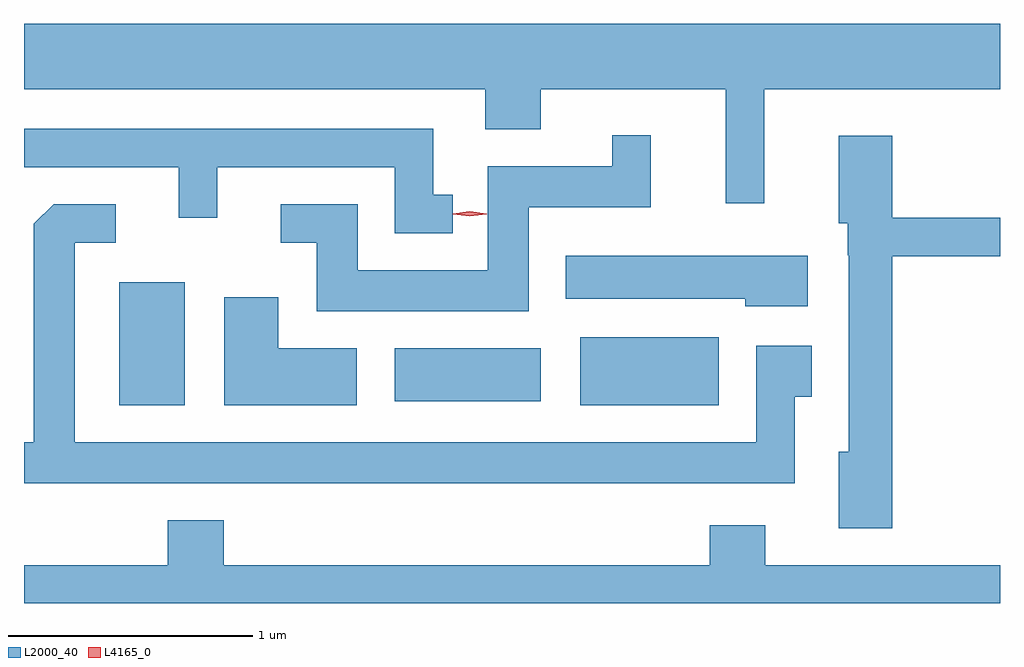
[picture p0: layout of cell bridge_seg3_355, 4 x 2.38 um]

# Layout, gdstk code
import gdstk
lib = gdstk.Library(unit=1e-6, precision=1e-09)
def R(c, l, rs):  # rectangles x0, y0, x1, y1
    for r in rs: c.add(gdstk.rectangle(r[:2], r[2:], *l))
def P(c, l, *ps):  # polygons
    for p in ps: c.add(gdstk.Polygon(p, *l))
L2000_40 = (2000, 40)
L4165_0 = (4165, 0)

bridge_seg3_355 = lib.new_cell('bridge_seg3_355')
R(bridge_seg3_355, L2000_40, [(682.231,1193.541,682.499,1194.044), (684.121,1193.541,684.689,1193.819), (683.361,1193.556,683.959,1193.774)])
P(bridge_seg3_355, L2000_40, [(684.874,1194.836),(685.841,1194.836),(685.841,1195.104),(681.841,1195.104),(681.841,1194.836),(683.731,1194.836),(683.731,1194.671),(683.959,1194.671),(683.959,1194.836),(684.716,1194.836),(684.716,1194.368),(684.874,1194.368)],
  [(683.598,1194.404),(683.519,1194.404),(683.519,1194.674),(681.841,1194.674),(681.841,1194.516),(682.476,1194.516),(682.476,1194.308),(682.634,1194.308),(682.634,1194.516),(683.361,1194.516),(683.361,1194.246),(683.598,1194.246)],
  [(683.909,1194.351),(684.409,1194.351),(684.409,1194.648),(684.251,1194.648),(684.251,1194.519),(683.741,1194.519),(683.741,1194.094),(683.209,1194.094),(683.209,1194.364),(682.893,1194.364),(682.893,1194.206),(683.041,1194.206),(683.041,1193.926),(683.909,1193.926)],
  [(685.399,1194.151),(685.841,1194.151),(685.841,1194.309),(685.399,1194.309),(685.399,1194.644),(685.181,1194.644),(685.181,1194.286),(685.216,1194.286),(685.216,1194.155),(685.221,1194.155),(685.221,1193.349),(685.181,1193.349),(685.181,1193.036),(685.399,1193.036)],
  [(684.999,1193.576),(685.069,1193.576),(685.069,1193.784),(684.841,1193.784),(684.841,1193.389),(682.049,1193.389),(682.049,1194.206),(682.218,1194.206),(682.218,1194.364),(681.962,1194.364),(681.881,1194.284),(681.881,1193.389),(681.841,1193.389),(681.841,1193.221),(684.999,1193.221)],
  [(685.054,1194.154),(684.061,1194.154),(684.061,1193.976),(684.796,1193.976),(684.796,1193.946),(685.054,1193.946)],
  [(683.204,1193.774),(682.884,1193.774),(682.884,1193.984),(682.661,1193.984),(682.661,1193.541),(683.204,1193.541)],
  [(685.841,1192.884),(684.879,1192.884),(684.879,1193.049),(684.651,1193.049),(684.651,1192.884),(682.659,1192.884),(682.659,1193.069),(682.431,1193.069),(682.431,1192.884),(681.841,1192.884),(681.841,1192.729),(685.841,1192.729)])
P(bridge_seg3_355, L4165_0, [(683.668,1194.315),(683.599,1194.324),(683.599,1194.325),(683.599,1194.325),(683.668,1194.335),(683.738,1194.325),(683.738,1194.325),(683.738,1194.324)])

lib.write_gds('bridge_seg3_355.gds')
